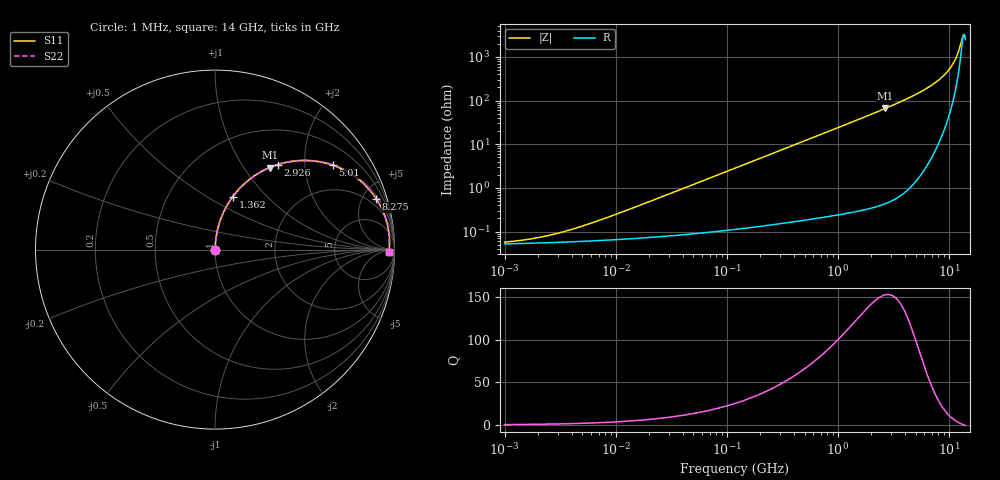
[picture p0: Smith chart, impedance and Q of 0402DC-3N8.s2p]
# MHz  S  MA  R  50
!Freq  MagS11  AngS11  MagS21  AngS21  MagS12  AngS12  MagS22  AngS22
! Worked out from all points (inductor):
!   801 points, 1 MHz to 14 GHz, reference 50 ohm
!   read as one part in series: L = 3.8 nH near 7.997 MHz
!   highest Q = 152 at 2.66 GHz (marker M1), where L = 3.95 nH
!   self-resonance near 13.63 GHz
!   S11 on the Smith chart (normalised r, x): 1 MHz: 1.00, +0.00; 1.362 GHz: 1.01, +0.66; 2.926 GHz: 1.01, +1.47; 5.01 GHz: 1.03, +2.77; 8.275 GHz: 1.25, +6.27; 14 GHz: 51, -25
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1  0.0005724 24.6  0.9995 -0.0  0.9995 -0.0  0.0005724 24.6
2.200292  0.00076 43.7  0.9995 -0.0  0.9995 -0.0  0.00076 43.7
4.958368  0.001324 63.3  0.9994 -0.1  0.9994 -0.1  0.001324 63.3
24.29341  0.005845 82.2  0.9992 -0.3  0.9992 -0.3  0.005845 82.2
119.025  0.0284 86.1  0.9985 -1.6  0.9985 -1.6  0.0284 86.1
288.1583  0.06858 84.8  0.9962 -3.9  0.9962 -3.9  0.06858 84.8
583.1601  0.1379 81.3  0.9885 -7.9  0.9885 -7.9  0.1379 81.3
1362.114  0.3113 71.4  0.9477 -18.1  0.9477 -18.1  0.3113 71.4
1926.182  0.4237 64.5  0.9028 -25.1  0.9028 -25.1  0.4237 64.5
2659.518  0.5494 56.3  0.832 -33.3  0.832 -33.3  0.5494 56.3
2857.179  0.5792 54.2  0.8114 -35.4  0.8114 -35.4  0.5792 54.2
2926.279  0.5892 53.5  0.8041 -36.1  0.8041 -36.1  0.5892 53.5
3851.81  0.7046 44.8  0.7045 -44.8  0.7045 -44.8  0.7046 44.8
5009.853  0.8068 35.6  0.5827 -53.8  0.5827 -53.8  0.8068 35.6
6594.383  0.893 25.7  0.4336 -63.2  0.4336 -63.2  0.893 25.7
8274.98  0.9421 17.5  0.3004 -70.3  0.3004 -70.3  0.9421 17.5
9550.72  0.9616 12.3  0.2143 -73.6  0.2143 -73.6  0.9616 12.3
10762.84  0.9708 8.1  0.1428 -74.2  0.1428 -74.2  0.9708 8.1
11842.4  0.9736 4.8  0.087 -70.0  0.087 -70.0  0.9736 4.8
13186.87  0.9719 1.1  0.03417 -34.2  0.03417 -34.2  0.9719 1.1
13668.13  0.9702 -0.1  0.02985 2.8  0.02985 2.8  0.9702 -0.1
14000  0.9687 -0.9  0.03485 25.7  0.03485 25.7  0.9687 -0.9
